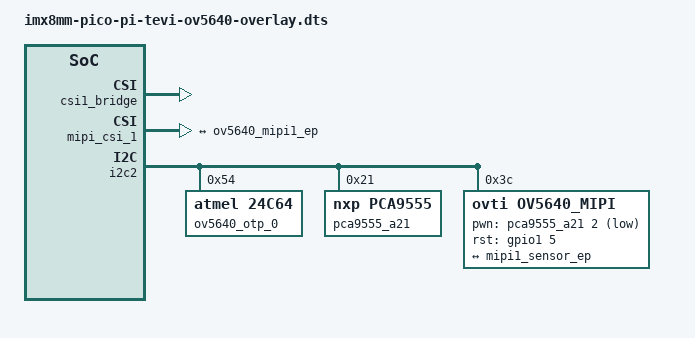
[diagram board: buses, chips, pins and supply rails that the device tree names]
// SPDX-License-Identifier: (GPL-2.0+ OR MIT)
/*
 * Copyright 2020 TechNexion Ltd.
 *
 * Author: Richard Hu <richard.hu@technexion.com>
 *
 */

/dts-v1/;
/plugin/;

#include <dt-bindings/interrupt-controller/irq.h>
#include <dt-bindings/clock/imx8mm-clock.h>
#include <dt-bindings/gpio/gpio.h>

/ {
	fragment@0 {
		target = <&csi1_bridge>;
		__overlay__ {
			status = "okay";
		};
	};

	fragment@1 {
		target = <&mipi_csi_1>;
		__overlay__ {
			status = "okay";
			#address-cells = <1>;
			#size-cells = <0>;

			port {
				mipi1_sensor_ep: endpoint@1 {
					remote-endpoint = <&ov5640_mipi1_ep>;
					data-lanes = <2>;
					csis-hs-settle = <13>;
					csis-clk-settle = <2>;
					csis-wclk;
				};
			};
		};
	};

	fragment@2 {
		target = <&i2c2>;
		__overlay__ {
			#address-cells = <1>;
			#size-cells = <0>;
			status = "okay";

			ov5640_otp_0: eeprom@54 {
				compatible = "atmel,24c64";
				reg = <0x54>;
				//read-only;
				status = "okay";
			};

			pca9555_a21: pca9555@21 {
				compatible = "nxp,pca9555";
				reg = <0x21>;
				status = "okay";
				gpio-controller;
				#gpio-cells = <2>;
				gpio-line-names = "EXPOSURE_TRIG_IN1", "FLASH_OUT1", "INFO_TRIG_IN1", "CAM_SHUTTER1", "XVS1", "PWR1_TIME0", "PWR1_TIME1", "PWR1_TIME2",
									"EXPOSURE_TRIG_IN2", "FLASH_OUT2", "INFO_TRIG_IN2", "CAM_SHUTTER2", "XVS2", "PWR2_TIME0", "PWR2_TIME1", "PWR2_TIME2";
			};

			ov5640_mipi: ov5640_mipi@3c {
				compatible = "ovti,ov5640_mipi";
				reg = <0x3c>;
				status = "okay";
				pinctrl-names = "default";
				pinctrl-0 = <&pinctrl_csi_rst>;
				clocks = <&clk IMX8MM_CLK_CLKO1>;
				clock-names = "csi_mclk";
				assigned-clocks = <&clk IMX8MM_CLK_CLKO1>;
				assigned-clock-parents = <&clk IMX8MM_CLK_24M>;
				assigned-clock-rates = <24000000>;
				csi_id = <0>;
				pwn-gpios = <&pca9555_a21 2 GPIO_ACTIVE_LOW>;
				rst-gpios = <&gpio1 5 GPIO_ACTIVE_HIGH>;
				mclk = <24000000>;
				mclk_source = <0>;
				port {
					ov5640_mipi1_ep: endpoint {
						remote-endpoint = <&mipi1_sensor_ep>;
					};
				};
			};
		};
	};
};
